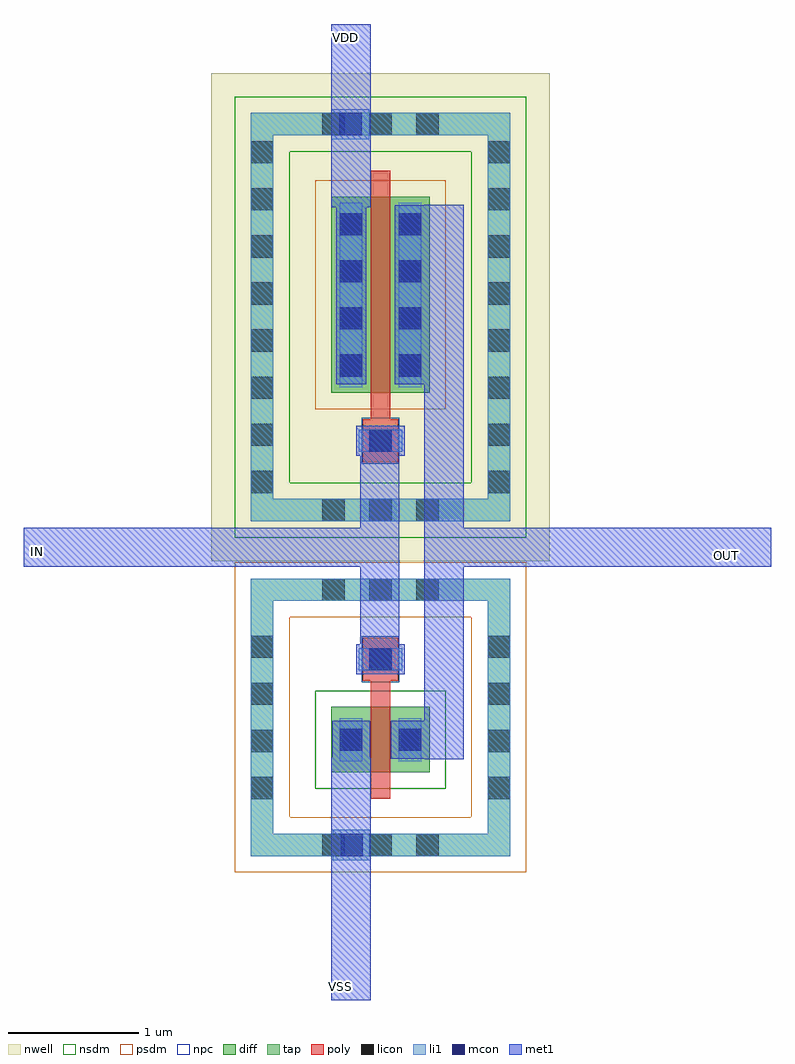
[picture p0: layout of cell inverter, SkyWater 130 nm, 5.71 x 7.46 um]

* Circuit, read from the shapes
.subckt inverter IN OUT VDD VSS
XM1 OUT IN VSS VSS sky130_fd_pr__nfet_01v8 w=0.5 l=0.15
XM2 OUT IN VDD VDD sky130_fd_pr__pfet_01v8 w=1.5 l=0.15
.ends

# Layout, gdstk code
import gdstk
lib = gdstk.Library(unit=1e-6, precision=5e-09)
def R(c, l, rs):  # rectangles x0, y0, x1, y1
    for r in rs: c.add(gdstk.rectangle(r[:2], r[2:], *l))
def A(c, l, x, y, w, h, nx, ny, dx, dy):  # array of equal rectangles
    R(c, l, [(x+i*dx, y+j*dy, x+i*dx+w, y+j*dy+h) for i in range(nx) for j in range(ny)])
def P(c, l, *ps):  # polygons
    for p in ps: c.add(gdstk.Polygon(p, *l))
nwell = (64, 20)
diff = (65, 20)
tap = (65, 44)
poly = (66, 20)
licon = (66, 44)
li1 = (67, 20)
mcon = (67, 44)
met1 = (68, 20)
nsdm = (93, 44)
psdm = (94, 20)
npc = (95, 20)

pfet_1 = lib.new_cell('pfet$1')
R(pfet_1, nwell, [(-0.92,-1.285,1.67,2.445)])
R(pfet_1, diff, [(0,0,0.75,1.5)])
P(pfet_1, tap, [(-0.615,-0.98),(-0.615,-0.81),(1.195,-0.81),(1.195,1.97),(-0.445,1.97),(-0.445,-0.81),(-0.615,-0.81),(-0.615,2.14),(1.365,2.14),(1.365,-0.98)])
R(pfet_1, poly, [(0.24,-0.53,0.51,-0.2), (0.3,-0.2,0.45,1.7)])
A(pfet_1, licon, -0.07, -0.98, 0.17, 0.17, 3, 2, 0.36, 2.95)
A(pfet_1, licon, -0.615, -0.765, 0.17, 0.17, 1, 8, 0, 0.36)
A(pfet_1, licon, 1.195, -0.765, 0.17, 0.17, 1, 8, 0, 0.36)
A(pfet_1, licon, 0.065, 0.125, 0.17, 0.17, 1, 4, 0, 0.36)
A(pfet_1, licon, 0.515, 0.125, 0.17, 0.17, 1, 4, 0, 0.36)
R(pfet_1, licon, [(0.29,-0.45,0.46,-0.28)])
R(pfet_1, li1, [(0.21,-0.45,0.54,-0.28), (0.065,0.045,0.235,1.455), (0.515,0.045,0.685,1.455)])
P(pfet_1, li1, [(-0.615,-0.98),(-0.615,-0.81),(1.195,-0.81),(1.195,1.97),(-0.445,1.97),(-0.445,-0.81),(-0.615,-0.81),(-0.615,2.14),(1.365,2.14),(1.365,-0.98)])
A(pfet_1, mcon, 0.065, 0.125, 0.17, 0.17, 1, 4, 0, 0.36)
A(pfet_1, mcon, 0.515, 0.125, 0.17, 0.17, 1, 4, 0, 0.36)
R(pfet_1, mcon, [(0.29,-0.45,0.46,-0.28)])
R(pfet_1, met1, [(0.19,-0.48,0.56,-0.25), (0.035,0.065,0.265,1.435), (0.485,0.065,0.715,1.435)])
P(pfet_1, nsdm, [(-0.74,-1.105),(-0.74,-0.685),(1.07,-0.685),(1.07,1.845),(-0.32,1.845),(-0.32,-0.685),(-0.74,-0.685),(-0.74,2.265),(1.49,2.265),(1.49,-1.105)])
R(pfet_1, psdm, [(-0.125,-0.125,0.875,1.625)])
R(pfet_1, npc, [(0.23,-0.54,0.52,-0.19)])

nfet_1 = lib.new_cell('nfet$1')
R(nfet_1, diff, [(0,0,0.75,0.5)])
P(nfet_1, tap, [(-0.615,-0.64),(-0.615,-0.47),(1.195,-0.47),(1.195,1.31),(-0.445,1.31),(-0.445,-0.47),(-0.615,-0.47),(-0.615,1.48),(1.365,1.48),(1.365,-0.64)])
R(nfet_1, poly, [(0.3,-0.2,0.45,0.7), (0.24,0.7,0.51,1.03)])
A(nfet_1, licon, -0.07, -0.64, 0.17, 0.17, 3, 2, 0.36, 1.95)
A(nfet_1, licon, -0.615, -0.205, 0.17, 0.17, 1, 4, 0, 0.36)
A(nfet_1, licon, 1.195, -0.205, 0.17, 0.17, 1, 4, 0, 0.36)
R(nfet_1, licon, [(0.065,0.165,0.235,0.335), (0.515,0.165,0.685,0.335), (0.29,0.78,0.46,0.95)])
R(nfet_1, li1, [(0.065,0.085,0.235,0.415), (0.515,0.085,0.685,0.415), (0.21,0.78,0.54,0.95)])
P(nfet_1, li1, [(-0.615,-0.64),(-0.615,-0.47),(1.195,-0.47),(1.195,1.31),(-0.445,1.31),(-0.445,-0.47),(-0.615,-0.47),(-0.615,1.48),(1.365,1.48),(1.365,-0.64)])
R(nfet_1, mcon, [(0.065,0.165,0.235,0.335), (0.515,0.165,0.685,0.335), (0.29,0.78,0.46,0.95)])
R(nfet_1, met1, [(0.005,0.105,0.295,0.395), (0.455,0.105,0.745,0.395), (0.19,0.75,0.56,0.98)])
R(nfet_1, nsdm, [(-0.125,-0.125,0.875,0.625)])
P(nfet_1, psdm, [(-0.74,-0.765),(-0.74,-0.345),(1.07,-0.345),(1.07,1.185),(-0.32,1.185),(-0.32,-0.345),(-0.74,-0.345),(-0.74,1.605),(1.49,1.605),(1.49,-0.765)])
R(nfet_1, npc, [(0.23,0.69,0.52,1.04)])

vias_gen_1 = lib.new_cell('vias_gen$1')
R(vias_gen_1, li1, [(0,0,0.29,0.23)])
R(vias_gen_1, mcon, [(0.06,0.03,0.23,0.2)])
R(vias_gen_1, met1, [(0,0,0.29,0.23)])

inverter = lib.new_cell('inverter')
inverter.add(gdstk.FlexPath([(0.86,0.74),(0.86,-3.5)], 0.3, ends="flush", simple_path=True, layer=68, datatype=20))  # met1
inverter.add(gdstk.FlexPath([(1,-1.88),(3.36,-1.88)], 0.3, ends="flush", simple_path=True, layer=68, datatype=20))  # met1
inverter.add(gdstk.FlexPath([(0.24,-1.88),(-2.35,-1.88)], 0.3, ends="flush", simple_path=True, layer=68, datatype=20))  # met1
inverter.add(gdstk.FlexPath([(0.15,-3.49),(0.15,-5.34)], 0.3, ends="flush", simple_path=True, layer=68, datatype=20))  # met1
inverter.add(gdstk.FlexPath([(0.15,0.72),(0.15,2.12)], 0.3, ends="flush", simple_path=True, layer=68, datatype=20))  # met1
inverter.add(gdstk.FlexPath([(0.37,-1.18),(0.37,-2.62)], 0.3, ends="flush", simple_path=True, layer=68, datatype=20))  # met1
inverter.add(gdstk.Reference(pfet_1, (0,-0.7)))
inverter.add(gdstk.Reference(nfet_1, (0,-3.6)))
inverter.add(gdstk.Reference(vias_gen_1, (0,1.24)))
inverter.add(gdstk.Reference(vias_gen_1, (0.01,-4.27)))
inverter.add(gdstk.Label('OUT', (3.02,-1.94), layer=68, texttype=5))
inverter.add(gdstk.Label('IN', (-2.25,-1.91), layer=68, texttype=5))
inverter.add(gdstk.Label('VSS', (0.07,-5.24), layer=68, texttype=5))
inverter.add(gdstk.Label('VDD', (0.11,2.02), layer=68, texttype=5))

lib.write_gds('inverter.gds')
